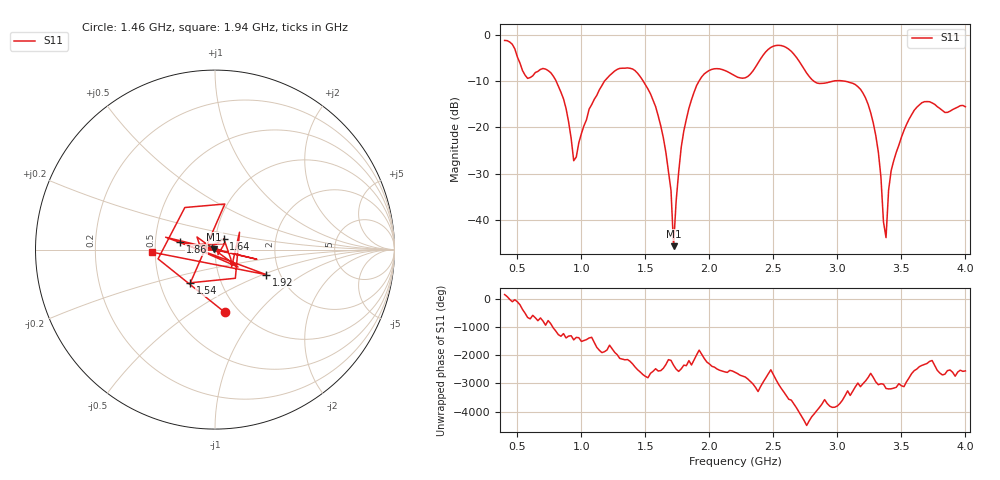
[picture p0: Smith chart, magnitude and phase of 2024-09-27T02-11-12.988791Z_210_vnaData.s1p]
!Created with skrf (http://scikit-rf.org).
# Hz S RI R 50.0
!freq ReS11 ImS11
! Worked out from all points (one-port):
!   181 points, 400 MHz to 4 GHz, reference 50 ohm
!   lowest |S11| = -45.7 dB at 1.72 GHz (marker M1), VSWR 1.01, Z = 49.5 + j0.178 ohm
!   |S11| at or under -10 dB: 802.7 MHz to 1.18 GHz (377 MHz wide, 38 % of centre); 1.483 GHz to 1.919 GHz (435.8 MHz wide, 25.6 % of centre); 3.058 GHz to end of sweep (the widest 3 of 4)
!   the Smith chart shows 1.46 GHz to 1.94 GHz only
!   S11 on the Smith chart (normalised r, x): 1.46 GHz: 0.86, -0.69; 1.54 GHz: 0.71, -0.28; 1.64 GHz: 1.10, +0.13; 1.86 GHz: 0.67, +0.06; 1.92 GHz: 1.70, -0.53; 1.94 GHz: 0.48, -0.02
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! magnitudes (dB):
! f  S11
! 400 MHz  -1.2
! 580 MHz  -9.4
! 720 MHz  -7.4
! 860 MHz  -13.8
! 940 MHz  -27.2
! 1.06 GHz  -16.1
! 1.3 GHz  -7.2
! 1.46 GHz  -9.0
! 1.54 GHz  -12.8
! 1.64 GHz  -22.2
! 1.7 GHz  -33.7
! 1.72 GHz  -45.7
! 1.76 GHz  -29.7
! 1.86 GHz  -14.0
! 1.92 GHz  -9.9
! 1.94 GHz  -9.1
! 2.2 GHz  -8.9
! 2.5 GHz  -2.4
! 2.66 GHz  -4.2
! 2.84 GHz  -10.4
! 3.1 GHz  -10.3
! 3.28 GHz  -19.0
! 3.32 GHz  -25.4
! 3.38 GHz  -43.9
! 3.42 GHz  -29.4
! 3.56 GHz  -18.2
! 3.68 GHz  -14.4
! 4 GHz  -15.5
